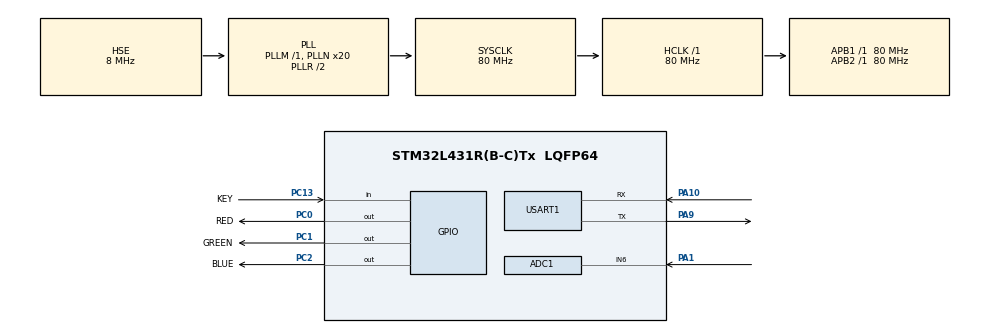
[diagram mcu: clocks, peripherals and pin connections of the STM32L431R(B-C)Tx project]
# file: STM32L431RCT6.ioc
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ADC1.Channel-1\#ChannelRegularConversion=ADC_CHANNEL_6
ADC1.ContinuousConvMode=ENABLE
ADC1.DMAContinuousRequests=ENABLE
ADC1.NbrOfConversionFlag=1
ADC1.Offset-1\#ChannelRegularConversion=5
ADC1.OffsetNumber-1\#ChannelRegularConversion=ADC_OFFSET_NONE
ADC1.Rank-1\#ChannelRegularConversion=1
ADC1.SamplingTime-1\#ChannelRegularConversion=ADC_SAMPLETIME_6CYCLES_5
ADC1.master=1
Dma.ADC1.0.Direction=DMA_PERIPH_TO_MEMORY
Dma.ADC1.0.Instance=DMA1_Channel1
Dma.ADC1.0.MemDataAlignment=DMA_MDATAALIGN_HALFWORD
Dma.ADC1.0.MemInc=DMA_MINC_ENABLE
Dma.ADC1.0.Mode=DMA_CIRCULAR
Dma.ADC1.0.PeriphDataAlignment=DMA_PDATAALIGN_HALFWORD
Dma.ADC1.0.PeriphInc=DMA_PINC_DISABLE
Dma.ADC1.0.Priority=DMA_PRIORITY_HIGH
Dma.Request0=ADC1
Mcu.Family=STM32L4
Mcu.Name=STM32L431R(B-C)Tx
Mcu.Package=LQFP64
NVIC.DMA1_Channel1_IRQn=true\:0\:0\:false\:false\:true\:false\:true\:true
NVIC.PriorityGroup=NVIC_PRIORITYGROUP_4
PA1.Signal=ADCx_IN6
PA10.Mode=Asynchronous
PA10.Signal=USART1_RX
PA13\ (JTMS-SWDIO).Mode=Serial_Wire
PA13\ (JTMS-SWDIO).Signal=SYS_JTMS-SWDIO
PA14\ (JTCK-SWCLK).Mode=Serial_Wire
PA14\ (JTCK-SWCLK).Signal=SYS_JTCK-SWCLK
PA9.Mode=Asynchronous
PA9.Signal=USART1_TX
PC0.GPIO_Label=RED
PC0.GPIO_PuPd=GPIO_PULLUP
PC0.PinState=GPIO_PIN_SET
PC0.Signal=GPIO_Output
PC1.GPIO_Label=GREEN
PC1.GPIO_PuPd=GPIO_PULLUP
PC1.PinState=GPIO_PIN_SET
PC1.Signal=GPIO_Output
PC13.GPIO_Label=KEY
PC13.GPIO_Mode=GPIO_MODE_INPUT
PC13.GPIO_PuPd=GPIO_PULLUP
PC13.Signal=GPIO_Input
PC2.GPIO_Label=BLUE
PC2.GPIO_PuPd=GPIO_PULLUP
PC2.PinState=GPIO_PIN_SET
PC2.Signal=GPIO_Output
PH0-OSC_IN\ (PH0).Mode=HSE-External-Oscillator
PH0-OSC_IN\ (PH0).Signal=RCC_OSC_IN
PH1-OSC_OUT\ (PH1).Mode=HSE-External-Oscillator
PH1-OSC_OUT\ (PH1).Signal=RCC_OSC_OUT
ProjectManager.HeapSize=0x200
ProjectManager.StackSize=0x400
ProjectManager.TargetToolchain=MDK-ARM V5.27
RCC.ADCFreq_Value=32000000
RCC.AHBFreq_Value=80000000
RCC.APB1Freq_Value=80000000
RCC.APB1TimFreq_Value=80000000
RCC.APB2Freq_Value=80000000
RCC.APB2TimFreq_Value=80000000
RCC.CortexFreq_Value=80000000
RCC.HCLKFreq_Value=80000000
RCC.HSI48_VALUE=48000000
RCC.HSI_VALUE=16000000
RCC.LSE_VALUE=32768
RCC.MSI_VALUE=4000000
RCC.PLLN=20
RCC.PLLSourceVirtual=RCC_PLLSOURCE_HSE
RCC.SYSCLKFreq_VALUE=80000000
RCC.SYSCLKSource=RCC_SYSCLKSOURCE_PLLCLK
RCC.VCOOutputFreq_Value=160000000
SH.ADCx_IN6.0=ADC1_IN6,IN6-Single-Ended
USART1.VirtualMode-Asynchronous=VM_ASYNC
board=custom

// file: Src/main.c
/* USER CODE BEGIN Header */
/**
  ******************************************************************************
  * @file           : main.c
  * @brief          : Main program body
  ******************************************************************************
  * @attention
  *
  * <h2><center>&copy; Copyright (c) 2020 STMicroelectronics.
  * All rights reserved.</center></h2>
  *
  * This software component is licensed by ST under BSD 3-Clause license,
  * the "License"; You may not use this file except in compliance with the
  * License. You may obtain a copy of the License at:
  *                        opensource.org/licenses/BSD-3-Clause
  *
  ******************************************************************************
  */
/* USER CODE END Header */
#include "main.h"
#include "adc.h"
#include "dma.h"
#include "usart.h"
#include "gpio.h"

void SystemClock_Config(void);

/* USER CODE BEGIN 0 */
	#define ADC_CONVERTED_DATA_BUFFER_SIZE   ((uint32_t)  32)   /* Size of array aADCxConvertedData[] */
	__IO uint16_t   aADCxConvertedData[ADC_CONVERTED_DATA_BUFFER_SIZE];

	u8 t;
	u32 ADC_VALUE;
	float voltage;
/* USER CODE END 0 */

int main(void)
{

  /* MCU Configuration--------------------------------------------------------*/

  /* Reset of all peripherals, Initializes the Flash interface and the Systick. */
  HAL_Init();

  /* Configure the system clock */
  SystemClock_Config();

  /* Initialize all configured peripherals */
  MX_GPIO_Init();
  MX_DMA_Init();
  MX_ADC1_Init();
  MX_USART1_UART_Init();
  /* USER CODE BEGIN 2 */
  if (HAL_ADCEx_Calibration_Start(&hadc1, ADC_SINGLE_ENDED) !=  HAL_OK)
  {
    Error_Handler();
  }

	HAL_ADC_Start_DMA(&hadc1,
													(uint32_t *)&aADCxConvertedData,
													ADC_CONVERTED_DATA_BUFFER_SIZE
												 );
  /* USER CODE END 2 */

  /* Infinite loop */
  /* USER CODE BEGIN WHILE */
  while (1)
  {
		for(u8 i=0;i<ADC_CONVERTED_DATA_BUFFER_SIZE-1;i++)
		{
			ADC_VALUE += aADCxConvertedData[i];
		}
		ADC_VALUE = ADC_VALUE / ADC_CONVERTED_DATA_BUFFER_SIZE;

		voltage = (float)ADC_VALUE * (3.3/4095);

		printf("ADC_VALUE:%4d\r\n",ADC_VALUE);
		printf("voltage:  %.4fV\r\n",voltage);
		printf("\r\n\r\n");

		HAL_GPIO_TogglePin(RED_GPIO_Port,RED_Pin);
    /* USER CODE END WHILE */

  }
}

void SystemClock_Config(void)
{
  RCC_OscInitTypeDef RCC_OscInitStruct = {0};
  RCC_ClkInitTypeDef RCC_ClkInitStruct = {0};

  /** Configure the main internal regulator output voltage
  */
  if (HAL_PWREx_ControlVoltageScaling(PWR_REGULATOR_VOLTAGE_SCALE1) != HAL_OK)
  {
    Error_Handler();
  }

  /** Initializes the RCC Oscillators according to the specified parameters
  * in the RCC_OscInitTypeDef structure.
  */
  RCC_OscInitStruct.OscillatorType = RCC_OSCILLATORTYPE_HSE;
  RCC_OscInitStruct.HSEState = RCC_HSE_ON;
  RCC_OscInitStruct.PLL.PLLState = RCC_PLL_ON;
  RCC_OscInitStruct.PLL.PLLSource = RCC_PLLSOURCE_HSE;
  RCC_OscInitStruct.PLL.PLLM = 1;
  RCC_OscInitStruct.PLL.PLLN = 20;
  RCC_OscInitStruct.PLL.PLLP = RCC_PLLP_DIV7;
  RCC_OscInitStruct.PLL.PLLQ = RCC_PLLQ_DIV2;
  RCC_OscInitStruct.PLL.PLLR = RCC_PLLR_DIV2;
  if (HAL_RCC_OscConfig(&RCC_OscInitStruct) != HAL_OK)
  {
    Error_Handler();
  }

  /** Initializes the CPU, AHB and APB buses clocks
  */
  RCC_ClkInitStruct.ClockType = RCC_CLOCKTYPE_HCLK|RCC_CLOCKTYPE_SYSCLK
                              |RCC_CLOCKTYPE_PCLK1|RCC_CLOCKTYPE_PCLK2;
  RCC_ClkInitStruct.SYSCLKSource = RCC_SYSCLKSOURCE_PLLCLK;
  RCC_ClkInitStruct.AHBCLKDivider = RCC_SYSCLK_DIV1;
  RCC_ClkInitStruct.APB1CLKDivider = RCC_HCLK_DIV1;
  RCC_ClkInitStruct.APB2CLKDivider = RCC_HCLK_DIV1;

  if (HAL_RCC_ClockConfig(&RCC_ClkInitStruct, FLASH_LATENCY_4) != HAL_OK)
  {
    Error_Handler();
  }
}

void Error_Handler(void)
{
}
